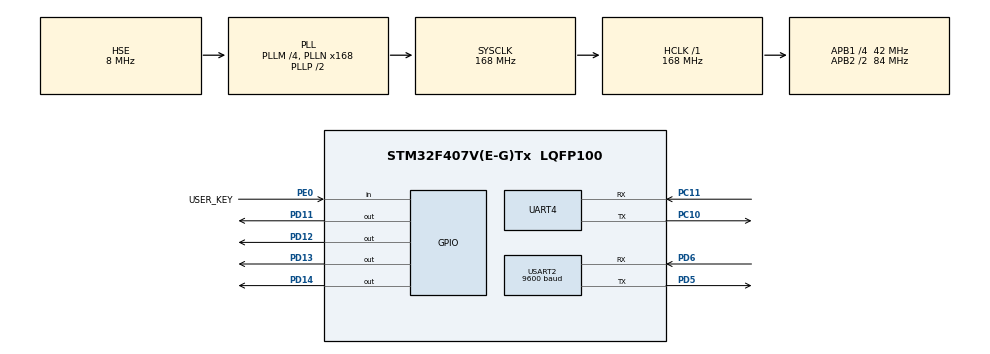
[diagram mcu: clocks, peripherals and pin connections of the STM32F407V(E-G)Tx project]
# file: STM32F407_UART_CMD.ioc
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Dma.MEMTOMEM.2.Direction=DMA_MEMORY_TO_MEMORY
Dma.MEMTOMEM.2.FIFOMode=DMA_FIFOMODE_ENABLE
Dma.MEMTOMEM.2.FIFOThreshold=DMA_FIFO_THRESHOLD_FULL
Dma.MEMTOMEM.2.Instance=DMA2_Stream1
Dma.MEMTOMEM.2.MemBurst=DMA_MBURST_SINGLE
Dma.MEMTOMEM.2.MemDataAlignment=DMA_MDATAALIGN_BYTE
Dma.MEMTOMEM.2.MemInc=DMA_MINC_ENABLE
Dma.MEMTOMEM.2.Mode=DMA_NORMAL
Dma.MEMTOMEM.2.PeriphBurst=DMA_PBURST_SINGLE
Dma.MEMTOMEM.2.PeriphDataAlignment=DMA_PDATAALIGN_BYTE
Dma.MEMTOMEM.2.PeriphInc=DMA_PINC_ENABLE
Dma.MEMTOMEM.2.Priority=DMA_PRIORITY_LOW
Dma.Request0=UART4_RX
Dma.Request1=UART4_TX
Dma.Request2=MEMTOMEM
Dma.UART4_RX.0.Direction=DMA_PERIPH_TO_MEMORY
Dma.UART4_RX.0.FIFOMode=DMA_FIFOMODE_DISABLE
Dma.UART4_RX.0.Instance=DMA1_Stream2
Dma.UART4_RX.0.MemDataAlignment=DMA_MDATAALIGN_BYTE
Dma.UART4_RX.0.MemInc=DMA_MINC_ENABLE
Dma.UART4_RX.0.Mode=DMA_NORMAL
Dma.UART4_RX.0.PeriphDataAlignment=DMA_PDATAALIGN_BYTE
Dma.UART4_RX.0.PeriphInc=DMA_PINC_DISABLE
Dma.UART4_RX.0.Priority=DMA_PRIORITY_HIGH
Dma.UART4_TX.1.Direction=DMA_MEMORY_TO_PERIPH
Dma.UART4_TX.1.FIFOMode=DMA_FIFOMODE_DISABLE
Dma.UART4_TX.1.Instance=DMA1_Stream4
Dma.UART4_TX.1.MemDataAlignment=DMA_MDATAALIGN_BYTE
Dma.UART4_TX.1.MemInc=DMA_MINC_ENABLE
Dma.UART4_TX.1.Mode=DMA_NORMAL
Dma.UART4_TX.1.PeriphDataAlignment=DMA_PDATAALIGN_BYTE
Dma.UART4_TX.1.PeriphInc=DMA_PINC_DISABLE
Dma.UART4_TX.1.Priority=DMA_PRIORITY_HIGH
Mcu.Family=STM32F4
Mcu.Name=STM32F407V(E-G)Tx
Mcu.Package=LQFP100
NVIC.DMA1_Stream2_IRQn=true\:0\:0\:false\:false\:true\:false\:true\:true
NVIC.DMA1_Stream4_IRQn=true\:0\:0\:false\:false\:true\:false\:true\:true
NVIC.PriorityGroup=NVIC_PRIORITYGROUP_4
NVIC.UART4_IRQn=true\:0\:0\:false\:false\:true\:true\:true\:true
NVIC.USART2_IRQn=true\:0\:0\:false\:false\:true\:true\:true\:true
PC14-OSC32_IN.Mode=LSE-External-Oscillator
PC14-OSC32_IN.Signal=RCC_OSC32_IN
PC15-OSC32_OUT.Mode=LSE-External-Oscillator
PC15-OSC32_OUT.Signal=RCC_OSC32_OUT
PC10.Mode=Asynchronous
PC10.Signal=UART4_TX
PC11.Mode=Asynchronous
PC11.Signal=UART4_RX
PD11.PinState=GPIO_PIN_RESET
PD11.Signal=GPIO_Output
PD12.PinState=GPIO_PIN_SET
PD12.Signal=GPIO_Output
PD13.PinState=GPIO_PIN_SET
PD13.Signal=GPIO_Output
PD14.PinState=GPIO_PIN_SET
PD14.Signal=GPIO_Output
PD5.Mode=Asynchronous
PD5.Signal=USART2_TX
PD6.Mode=Asynchronous
PD6.Signal=USART2_RX
PE0.GPIO_Label=USER_KEY
PE0.GPIO_PuPd=GPIO_PULLUP
PE0.Signal=GPIO_Input
PH0-OSC_IN.Mode=HSE-External-Oscillator
PH0-OSC_IN.Signal=RCC_OSC_IN
PH1-OSC_OUT.Mode=HSE-External-Oscillator
PH1-OSC_OUT.Signal=RCC_OSC_OUT
ProjectManager.HeapSize=0x200
ProjectManager.StackSize=0x800
ProjectManager.TargetToolchain=MDK-ARM V5
RCC.48MHZClocksFreq_Value=84000000
RCC.AHBFreq_Value=168000000
RCC.APB1CLKDivider=RCC_HCLK_DIV4
RCC.APB1Freq_Value=42000000
RCC.APB1TimFreq_Value=84000000
RCC.APB2CLKDivider=RCC_HCLK_DIV2
RCC.APB2Freq_Value=84000000
RCC.APB2TimFreq_Value=168000000
RCC.CortexFreq_Value=168000000
RCC.HCLKFreq_Value=168000000
RCC.HSE_VALUE=8000000
RCC.HSI_VALUE=16000000
RCC.PLLM=4
RCC.PLLN=168
RCC.PLLSourceVirtual=RCC_PLLSOURCE_HSE
RCC.SYSCLKFreq_VALUE=168000000
RCC.SYSCLKSource=RCC_SYSCLKSOURCE_PLLCLK
RCC.VCOOutputFreq_Value=336000000
UART4.VirtualMode=VM_ASYNC
USART2.BaudRate=9600
USART2.VirtualMode=VM_ASYNC
board=custom

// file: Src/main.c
/* USER CODE BEGIN Header */
/**
  ******************************************************************************
  * @file           : main.c
  * @brief          : Main program body
  ******************************************************************************
  * @attention
  *
  * <h2><center>&copy; Copyright (c) 2026 STMicroelectronics.
  * All rights reserved.</center></h2>
  *
  * This software component is licensed by ST under BSD 3-Clause license,
  * the "License"; You may not use this file except in compliance with the
  * License. You may obtain a copy of the License at:
  *                        opensource.org/licenses/BSD-3-Clause
  *
  ******************************************************************************
  */
/* USER CODE END Header */
#include "main.h"
#include "dma.h"
#include "usart.h"
#include "gpio.h"

/* USER CODE BEGIN Includes */

#include "key_app.h"
#include "bluetooth_app.h"
#include "motor_app.h"
#include "motor_uart.h"
#include "oled.h"
#include "oled_app.h"

/* USER CODE END Includes */

void SystemClock_Config(void);

int main(void)
{

  /* MCU Configuration--------------------------------------------------------*/

  /* Reset of all peripherals, Initializes the Flash interface and the Systick. */
  HAL_Init();

  /* Configure the system clock */
  SystemClock_Config();

  /* Initialize all configured peripherals */
  MX_GPIO_Init();
  MX_DMA_Init();
  MX_UART4_Init();
  MX_USART2_UART_Init();
  /* USER CODE BEGIN 2 */

  OLED_Init();
  uart_init();
  bluetooth_init();
  motor_init();

  /* USER CODE END 2 */

  /* Infinite loop */
  while (1)
  {

    /* USER CODE BEGIN 3 */
    key_pro();
    uart_pro();
    bluetooth_pro();
    motor_pro();
    oled_pro();
  }
  /* USER CODE END 3 */
}

void SystemClock_Config(void)
{
  RCC_OscInitTypeDef RCC_OscInitStruct = {0};
  RCC_ClkInitTypeDef RCC_ClkInitStruct = {0};

  /** Configure the main internal regulator output voltage
  */
  __HAL_RCC_PWR_CLK_ENABLE();
  __HAL_PWR_VOLTAGESCALING_CONFIG(PWR_REGULATOR_VOLTAGE_SCALE1);

  /** Initializes the RCC Oscillators according to the specified parameters
  * in the RCC_OscInitTypeDef structure.
  */
  RCC_OscInitStruct.OscillatorType = RCC_OSCILLATORTYPE_HSE;
  RCC_OscInitStruct.HSEState = RCC_HSE_ON;
  RCC_OscInitStruct.PLL.PLLState = RCC_PLL_ON;
  RCC_OscInitStruct.PLL.PLLSource = RCC_PLLSOURCE_HSE;
  RCC_OscInitStruct.PLL.PLLM = 4;
  RCC_OscInitStruct.PLL.PLLN = 168;
  RCC_OscInitStruct.PLL.PLLP = RCC_PLLP_DIV2;
  RCC_OscInitStruct.PLL.PLLQ = 4;
  if (HAL_RCC_OscConfig(&RCC_OscInitStruct) != HAL_OK)
  {
    Error_Handler();
  }

  /** Initializes the CPU, AHB and APB buses clocks
  */
  RCC_ClkInitStruct.ClockType = RCC_CLOCKTYPE_HCLK|RCC_CLOCKTYPE_SYSCLK
                              |RCC_CLOCKTYPE_PCLK1|RCC_CLOCKTYPE_PCLK2;
  RCC_ClkInitStruct.SYSCLKSource = RCC_SYSCLKSOURCE_PLLCLK;
  RCC_ClkInitStruct.AHBCLKDivider = RCC_SYSCLK_DIV1;
  RCC_ClkInitStruct.APB1CLKDivider = RCC_HCLK_DIV4;
  RCC_ClkInitStruct.APB2CLKDivider = RCC_HCLK_DIV2;

  if (HAL_RCC_ClockConfig(&RCC_ClkInitStruct, FLASH_LATENCY_5) != HAL_OK)
  {
    Error_Handler();
  }
}

void Error_Handler(void)
{
}
